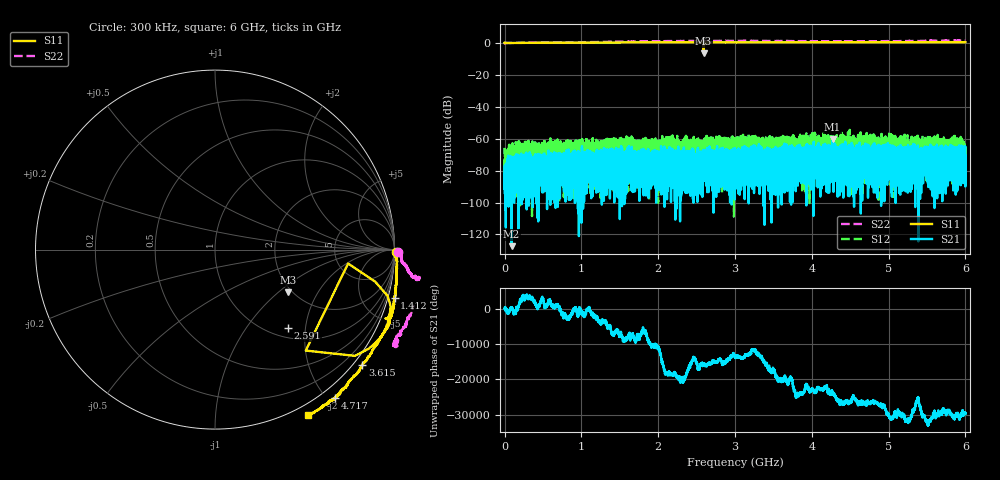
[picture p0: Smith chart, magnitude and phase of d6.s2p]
!Agilent Technologies,N5230C,SG49000117,A.08.50.07
!Agilent N5230C: A.08.50.07
!Date: Thursday, May 16, 2024 17:41:46
!Correction: S11(Full 2 Port(1,2))
!S21(Full 2 Port(1,2))
!S12(Full 2 Port(1,2))
!S22(Full 2 Port(1,2))
!S2P File: Measurements: S11, S21, S12, S22:
# Hz S  MA  R 50
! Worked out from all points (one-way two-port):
!   20001 points, 300 kHz to 6 GHz, reference 50 ohm
!   highest |S21| = -60.41 dB at 4.271 GHz (marker M1); lowest = -127.3 dB at 91.8 MHz (marker M2)
!   lowest |S11| = -6.5 dB at 2.592 GHz (marker M3), VSWR 2.78, Z = 95.1 - j58.3 ohm
!   |S11| at or under -10 dB: nowhere
!   |S22| runs from -0.3 to 1.6 dB; largest |S21 - S12| = 0.0021
!   S11 on the Smith chart (normalised r, x): 300 kHz: open; 1.412 GHz: -1.00, -7.40; 2.591 GHz: 1.18, -1.62; 3.615 GHz: -0.19, -2.89; 4.717 GHz: -0.17, -2.09; 6 GHz: -0.11, -1.71
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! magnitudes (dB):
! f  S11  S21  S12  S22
! 300 kHz  0.1  -77.4  -65.7  0.2
! 30.3 MHz  0.0  -78.9  -74.4  0.0
! 91.8 MHz  0.0  -127.3  -73.3  0.0
! 541.5 MHz  0.2  -80.6  -81.4  0.3
! 682.5 MHz  0.2  -77.3  -77.5  0.4
! 1 GHz  0.2  -112.7  -74.5  0.5
! 1.412 GHz  0.3  -84.3  -63.4  0.8
! 1.63 GHz  0.4  -84.1  -66.0  0.9
! 2 GHz  0.4  -77.0  -71.5  1.1
! 2.151 GHz  0.4  -68.7  -64.4  1.2
! 2.291 GHz  0.4  -82.2  -65.3  1.2
! 2.591 GHz  -4.5  -75.3  -63.6  1.3
! 2.592 GHz  -6.5  -75.2  -65.1  1.3
! 3 GHz  0.4  -72.8  -71.1  1.3
! 3.615 GHz  0.4  -81.5  -71.2  1.2
! 4 GHz  0.4  -71.7  -66.9  1.2
! 4.271 GHz  0.5  -60.4  -65.2  1.1
! 4.717 GHz  0.5  -83.8  -70.0  1.1
! 5 GHz  0.5  -77.3  -64.2  1.1
! 5.296 GHz  0.5  -67.8  -74.3  1.2
! 5.823 GHz  0.5  -71.0  -76.6  1.5
! 6 GHz  0.5  -71.4  -71.0  1.5
